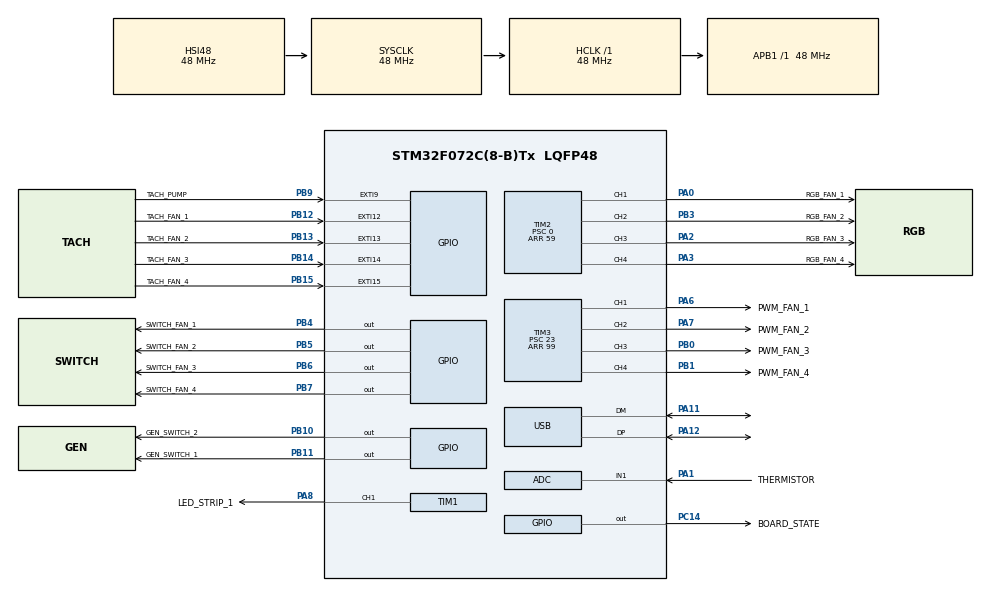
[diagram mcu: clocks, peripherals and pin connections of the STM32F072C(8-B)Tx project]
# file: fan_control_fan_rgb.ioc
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ADC.SamplingTime=ADC_SAMPLETIME_55CYCLES_5
Dma.Request0=TIM2_CH1
Dma.Request1=TIM2_CH2
Dma.Request2=TIM2_CH3
Dma.Request3=TIM2_CH4
Dma.Request4=TIM1_CH1
Dma.TIM1_CH1.4.Direction=DMA_MEMORY_TO_PERIPH
Dma.TIM1_CH1.4.Instance=DMA1_Channel2
Dma.TIM1_CH1.4.MemDataAlignment=DMA_MDATAALIGN_HALFWORD
Dma.TIM1_CH1.4.MemInc=DMA_MINC_ENABLE
Dma.TIM1_CH1.4.Mode=DMA_NORMAL
Dma.TIM1_CH1.4.PeriphDataAlignment=DMA_PDATAALIGN_HALFWORD
Dma.TIM1_CH1.4.PeriphInc=DMA_PINC_DISABLE
Dma.TIM1_CH1.4.Priority=DMA_PRIORITY_LOW
Dma.TIM2_CH1.0.Direction=DMA_MEMORY_TO_PERIPH
Dma.TIM2_CH1.0.Instance=DMA1_Channel5
Dma.TIM2_CH1.0.MemDataAlignment=DMA_MDATAALIGN_HALFWORD
Dma.TIM2_CH1.0.MemInc=DMA_MINC_ENABLE
Dma.TIM2_CH1.0.Mode=DMA_NORMAL
Dma.TIM2_CH1.0.PeriphDataAlignment=DMA_PDATAALIGN_HALFWORD
Dma.TIM2_CH1.0.PeriphInc=DMA_PINC_DISABLE
Dma.TIM2_CH1.0.Priority=DMA_PRIORITY_LOW
Dma.TIM2_CH2.1.Direction=DMA_MEMORY_TO_PERIPH
Dma.TIM2_CH2.1.Instance=DMA1_Channel3
Dma.TIM2_CH2.1.MemDataAlignment=DMA_MDATAALIGN_HALFWORD
Dma.TIM2_CH2.1.MemInc=DMA_MINC_ENABLE
Dma.TIM2_CH2.1.Mode=DMA_NORMAL
Dma.TIM2_CH2.1.PeriphDataAlignment=DMA_PDATAALIGN_HALFWORD
Dma.TIM2_CH2.1.PeriphInc=DMA_PINC_DISABLE
Dma.TIM2_CH2.1.Priority=DMA_PRIORITY_LOW
Dma.TIM2_CH3.2.Direction=DMA_MEMORY_TO_PERIPH
Dma.TIM2_CH3.2.Instance=DMA1_Channel1
Dma.TIM2_CH3.2.MemDataAlignment=DMA_MDATAALIGN_HALFWORD
Dma.TIM2_CH3.2.MemInc=DMA_MINC_ENABLE
Dma.TIM2_CH3.2.Mode=DMA_NORMAL
Dma.TIM2_CH3.2.PeriphDataAlignment=DMA_PDATAALIGN_HALFWORD
Dma.TIM2_CH3.2.PeriphInc=DMA_PINC_DISABLE
Dma.TIM2_CH3.2.Priority=DMA_PRIORITY_LOW
Dma.TIM2_CH4.3.Direction=DMA_MEMORY_TO_PERIPH
Dma.TIM2_CH4.3.Instance=DMA1_Channel4
Dma.TIM2_CH4.3.MemDataAlignment=DMA_MDATAALIGN_HALFWORD
Dma.TIM2_CH4.3.MemInc=DMA_MINC_ENABLE
Dma.TIM2_CH4.3.Mode=DMA_NORMAL
Dma.TIM2_CH4.3.PeriphDataAlignment=DMA_PDATAALIGN_HALFWORD
Dma.TIM2_CH4.3.PeriphInc=DMA_PINC_DISABLE
Dma.TIM2_CH4.3.Priority=DMA_PRIORITY_LOW
Mcu.Family=STM32F0
Mcu.Name=STM32F072C(8-B)Tx
Mcu.Package=LQFP48
NVIC.DMA1_Channel1_IRQn=true\:0\:0\:false\:false\:true\:false\:true\:true
NVIC.DMA1_Channel2_3_IRQn=true\:0\:0\:false\:false\:true\:false\:true\:true
NVIC.DMA1_Channel4_5_6_7_IRQn=true\:0\:0\:false\:false\:true\:false\:true\:true
NVIC.EXTI4_15_IRQn=true\:0\:0\:false\:false\:true\:true\:true\:true
NVIC.TIM14_IRQn=true\:0\:0\:false\:false\:true\:true\:true\:true
NVIC.TIM17_IRQn=true\:3\:0\:false\:false\:true\:false\:true\:true
NVIC.TIM2_IRQn=true\:0\:0\:false\:false\:true\:true\:true\:true
NVIC.TIM3_IRQn=true\:0\:0\:false\:false\:true\:true\:true\:true
NVIC.TimeBase=TIM17_IRQn
NVIC.TimeBaseIP=TIM17
NVIC.USB_IRQn=true\:0\:0\:false\:false\:true\:false\:true\:true
PA0.GPIO_Label=RGB_FAN_1
PA0.Signal=S_TIM2_CH1_ETR
PA1.GPIO_Label=THERMISTOR
PA1.Mode=IN1
PA1.Signal=ADC_IN1
PA11.Mode=Device
PA11.Signal=USB_DM
PA12.Mode=Device
PA12.Signal=USB_DP
PA13.Mode=Serial_Wire
PA13.Signal=SYS_SWDIO
PA14.Mode=Serial_Wire
PA14.Signal=SYS_SWCLK
PA2.GPIO_Label=RGB_FAN_3
PA2.Signal=S_TIM2_CH3
PA3.GPIO_Label=RGB_FAN_4
PA3.Signal=S_TIM2_CH4
PA6.GPIO_Label=PWM_FAN_1
PA6.Signal=S_TIM3_CH1
PA7.GPIO_Label=PWM_FAN_2
PA7.Signal=S_TIM3_CH2
PA8.GPIO_Label=LED_STRIP_1
PA8.Signal=S_TIM1_CH1
PB0.GPIO_Label=PWM_FAN_3
PB0.Signal=S_TIM3_CH3
PB1.GPIO_Label=PWM_FAN_4
PB1.Signal=S_TIM3_CH4
PB10.GPIO_Label=GEN_SWITCH_2
PB10.Signal=GPIO_Output
PB11.GPIO_Label=GEN_SWITCH_1
PB11.Signal=GPIO_Output
PB12.GPIO_Label=TACH_FAN_1
PB12.Signal=GPXTI12
PB13.GPIO_Label=TACH_FAN_2
PB13.Signal=GPXTI13
PB14.GPIO_Label=TACH_FAN_3
PB14.Signal=GPXTI14
PB15.GPIO_Label=TACH_FAN_4
PB15.Signal=GPXTI15
PB3.GPIO_Label=RGB_FAN_2
PB3.Signal=S_TIM2_CH2
PB4.GPIO_Label=SWITCH_FAN_1
PB4.PinState=GPIO_PIN_SET
PB4.Signal=GPIO_Output
PB5.GPIO_Label=SWITCH_FAN_2
PB5.PinState=GPIO_PIN_SET
PB5.Signal=GPIO_Output
PB6.GPIO_Label=SWITCH_FAN_3
PB6.PinState=GPIO_PIN_SET
PB6.Signal=GPIO_Output
PB7.GPIO_Label=SWITCH_FAN_4
PB7.PinState=GPIO_PIN_SET
PB7.Signal=GPIO_Output
PB9.GPIO_Label=TACH_PUMP
PB9.Signal=GPXTI9
PC14-OSC32_IN.GPIO_Label=BOARD_STATE
PC14-OSC32_IN.Signal=GPIO_Output
ProjectManager.HeapSize=0x200
ProjectManager.StackSize=0x400
ProjectManager.TargetToolchain=STM32CubeIDE
RCC.AHBFreq_Value=48000000
RCC.APB1Freq_Value=48000000
RCC.APB1TimFreq_Value=48000000
RCC.HCLKFreq_Value=48000000
RCC.PLLSourceVirtual=RCC_PLLSOURCE_HSI48
RCC.SYSCLKFreq_VALUE=48000000
RCC.SYSCLKSource=RCC_SYSCLKSOURCE_HSI48
SH.S_TIM1_CH1.0=TIM1_CH1,PWM Generation1 CH1
SH.S_TIM2_CH1_ETR.0=TIM2_CH1,PWM Generation1 CH1
SH.S_TIM2_CH2.0=TIM2_CH2,PWM Generation2 CH2
SH.S_TIM2_CH3.0=TIM2_CH3,PWM Generation3 CH3
SH.S_TIM2_CH4.0=TIM2_CH4,PWM Generation4 CH4
SH.S_TIM3_CH1.0=TIM3_CH1,PWM Generation1 CH1
SH.S_TIM3_CH2.0=TIM3_CH2,PWM Generation2 CH2
SH.S_TIM3_CH3.0=TIM3_CH3,PWM Generation3 CH3
SH.S_TIM3_CH4.0=TIM3_CH4,PWM Generation4 CH4
TIM1.AutoReloadPreload=TIM_AUTORELOAD_PRELOAD_ENABLE
TIM1.Channel-PWM\ Generation1\ CH1=TIM_CHANNEL_1
TIM1.Period=59
TIM1.Prescaler=0
TIM1.Pulse-PWM\ Generation1\ CH1=43
TIM14.AutoReloadPreload=TIM_AUTORELOAD_PRELOAD_ENABLE
TIM14.Period=47999
TIM14.Prescaler=99
TIM2.Channel-PWM\ Generation1\ CH1=TIM_CHANNEL_1
TIM2.Channel-PWM\ Generation2\ CH2=TIM_CHANNEL_2
TIM2.Channel-PWM\ Generation3\ CH3=TIM_CHANNEL_3
TIM2.Channel-PWM\ Generation4\ CH4=TIM_CHANNEL_4
TIM2.Period=59
TIM2.Prescaler=0
TIM2.Pulse-PWM\ Generation1\ CH1=50
TIM2.Pulse-PWM\ Generation2\ CH2=50
TIM2.Pulse-PWM\ Generation3\ CH3=50
TIM2.Pulse-PWM\ Generation4\ CH4=50
TIM3.Channel-PWM\ Generation1\ CH1=TIM_CHANNEL_1
TIM3.Channel-PWM\ Generation2\ CH2=TIM_CHANNEL_2
TIM3.Channel-PWM\ Generation3\ CH3=TIM_CHANNEL_3
TIM3.Channel-PWM\ Generation4\ CH4=TIM_CHANNEL_4
TIM3.Period=99
TIM3.Prescaler=23
TIM7.AutoReloadPreload=TIM_AUTORELOAD_PRELOAD_ENABLE
TIM7.Period=47999
TIM7.Prescaler=99
USB_DEVICE.APP_RX_DATA_SIZE=256
USB_DEVICE.APP_TX_DATA_SIZE=256
USB_DEVICE.CLASS_NAME_FS=CDC
USB_DEVICE.VirtualMode=Cdc
USB_DEVICE.VirtualModeFS=Cdc_FS
VP_SYS_VS_tim17.Mode=TIM17
VP_TIM14_VS_ClockSourceINT.Mode=Enable_Timer
VP_TIM1_VS_ClockSourceINT.Mode=Internal
VP_TIM2_VS_ClockSourceINT.Mode=Internal
VP_TIM3_VS_ClockSourceINT.Mode=Internal
VP_TIM7_VS_ClockSourceINT.Mode=Enable_Timer
VP_USB_DEVICE_VS_USB_DEVICE_CDC_FS.Mode=CDC_FS
VP_WWDG_VS_WWDG.Mode=WWDG_Activate
board=custom

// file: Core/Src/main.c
/* USER CODE BEGIN Header */
/**
  ******************************************************************************
  * @file           : main.c
  * @brief          : Main program body
  ******************************************************************************
  * @attention
  *
  * Copyright (c) 2023 STMicroelectronics.
  * All rights reserved.
  *
  * This software is licensed under terms that can be found in the LICENSE file
  * in the root directory of this software component.
  * If no LICENSE file comes with this software, it is provided AS-IS.
  *
  ******************************************************************************
  */
/* USER CODE END Header */
#include "main.h"
#include "adc.h"
#include "dma.h"
#include "tim.h"
#include "usb_device.h"
#include "wwdg.h"
#include "gpio.h"

/* USER CODE BEGIN Includes */
#include "math.h"
#include "usbd_cdc_if.h"
/* USER CODE END Includes */

/* USER CODE BEGIN PD */
uint8_t pulse_source = 0;
uint8_t pulse_timout = 0;
uint8_t transfer_complete = 0;
uint8_t rgb_channels[] = {TIM_CHANNEL_1, TIM_CHANNEL_2, TIM_CHANNEL_3, TIM_CHANNEL_4};

/* USER CODE END PD */

/* USER CODE BEGIN PV */
/**
 * @brief Callback of the ISR for the tachometers of the fans
 * @param GPIO_Pin
 */
void HAL_GPIO_EXTI_Callback(uint16_t GPIO_Pin)
{
    switch(GPIO_Pin){
    	case TACH_PUMP_Pin:
    		pulse_source = TACH_PUMP;
    	break;
    	case TACH_FAN_1_Pin:
    		pulse_source = TACH_FAN_1;
    	break;
    	case TACH_FAN_2_Pin:
    		pulse_source = TACH_FAN_2;
    	break;
    	case TACH_FAN_3_Pin:
    		pulse_source = TACH_FAN_3;
    	break;
    	case TACH_FAN_4_Pin:
    		pulse_source = TACH_FAN_4;
    	break;
    }
}
/**
 * @brief ISR callback for the timer monitoring the timeout of the tachometers
 * @param htim
 */
void HAL_TIM_PeriodElapsedCallbackck(TIM_HandleTypeDef *htim)
{
 if(htim->Instance == TIM14){
	 pulse_timout = 1;
 }
}
/* USER CODE END PV */

void SystemClock_Config(void);
/* USER CODE BEGIN PFP */
uint8_t buffer[USB_BUFFER_SIZE] = {0};
uint8_t buffer_ans[USB_BUFFER_SIZE] = {0};
/* USER CODE END PFP */

/* USER CODE BEGIN 0 */

uint32_t adc_read(){
    HAL_ADC_Start(&hadc);
    HAL_ADC_PollForConversion(&hadc, 1);
    return HAL_ADC_GetValue(&hadc);
}

uint32_t convert_raw_to_temp(uint32_t raw_adc){
    uint32_t temperature = 0;
	if(0>raw_adc || raw_adc>ADC_RES){
		temperature = IMPOSSIBLE_VALUE_TEMP;
	}
    else{
        float real_voltage = ((float)raw_adc/ADC_RES)*MAX_VOLT;
        float Rth = (-real_voltage*R1)/(real_voltage-V_SUPPLY);
        float a = log(Rth/(float)RES_AT_25C)/(float)BETA_TERMISTOR;
        float b = (float)1/298;
        float c = 1/(a+b);
        c = roundf(c * 100) / 100;
        temperature = (c-273)*100;
    }
    return temperature;
}

void read_fan_pulses(collected_pulses_t pulse_set){
    int count_pulses = 0;
    int already_pulsed[NUM_FANS] = {0};
    HAL_TIM_Base_Start_IT(&htim14);
    while (!pulse_timout && count_pulses != NUM_FANS*2){

        switch (pulse_source)
        {
            case PUMP:
                if(!already_pulsed[PUMP]){
                    pulse_set[PUMP].p1 = TIM7->CNT;
                    already_pulsed[PUMP] = 1;
                    count_pulses++;
                }
                else{
                    pulse_set[PUMP].p2 = TIM7->CNT;
                    count_pulses++;
                }
            break;

            case FAN_1:
                if(!already_pulsed[FAN_1]){
                    pulse_set[FAN_1].p1 = TIM7->CNT;
                    already_pulsed[FAN_1] = 1;
                    count_pulses++;
                }
                else{
                    pulse_set[FAN_1].p2 =TIM7->CNT;
                    count_pulses++;
                }
            break;

            case FAN_2:
                if(!already_pulsed[FAN_2]){
                    pulse_set[FAN_2].p1 = TIM7->CNT;
                    already_pulsed[FAN_2] = 1;
                    count_pulses++;
                }
                else{
                    pulse_set[FAN_2].p2 = TIM7->CNT;
                    count_pulses++;
                }
            break;

            case FAN_3:
                if(!already_pulsed[FAN_3]){
                    pulse_set[FAN_3].p1 = TIM7->CNT;
                    already_pulsed[FAN_3] = 1;
                    count_pulses++;
                }
                else{
                    pulse_set[FAN_3].p2 = TIM7->CNT;
                    count_pulses++;
                }
            break;

            case FAN_4:
                if(!already_pulsed[FAN_4]){
                    pulse_set[FAN_4].p1 = TIM7->CNT;
                    already_pulsed[FAN_4] = 1;
                    count_pulses++;
                }
                else{
                    pulse_set[FAN_4].p2 = TIM7->CNT;
                    count_pulses++;
                }
            break;

            default:
            break;
        }
    }
    HAL_TIM_Base_Stop_IT(&htim14);

}

void init_pulses(collected_pulses_t pulse_set){
    for(int i = 0; i<NUM_FANS; i++){
        pulse_set[i].p1 = IMPOSSIBLE_VALUE_COUNTER;
        pulse_set[i].p2 = IMPOSSIBLE_VALUE_COUNTER;
    }
}

void fan_speed_calculator(uint32_t speeds[], collected_pulses_t  pulses){
	int elapsed_ticks = 0U;
	float elapsed_time = 0.0;
	float fan_freq = 0.0;
	int RPM = IMPOSSIBLE_VALUE_RPM;
	for(int i = 0; i<NUM_FANS; i++){
		elapsed_ticks = pulses[i].p2 - pulses[i].p1;
		elapsed_time = (float)elapsed_ticks/CLOCK_SPEED;
		fan_freq = 1/elapsed_time;
        fan_freq = roundf(fan_freq * 100) / 100;
		RPM = ((fan_freq*60)/2);
        if(RPM < MIN_SPEED_FAN || RPM > MAX_SPEED_FAN){
            speeds[i] = IMPOSSIBLE_VALUE_RPM;
        }
        else{
		    speeds[i] = RPM;
        }
	}
}

uint8_t process_buffer_command(char buff[], data_in_t *data_ui){
    char *token = strtok(buff, SEPARATOR);
    uint32_t hold_num[TEST_SIZE]; memset(hold_num, IMPOSSIBLE_VALUE_COUNTER, TEST_SIZE*sizeof(uint32_t));
    int i = 0;
        while (token != NULL){
            hold_num[i] =  atoi(token);
            i++;
            token = strtok(NULL, SEPARATOR);
        }
        if(hold_num[9] != IMPOSSIBLE_VALUE_COUNTER){
            data_ui->pwm_f0 = hold_num[0];
            data_ui->pwm_f1 = hold_num[1];
            data_ui->pwm_f2 = hold_num[2];
            data_ui->pwm_f3 = hold_num[3];
            data_ui->sw_1 = hold_num[4];
            data_ui->sw_2 = hold_num[5];
            data_ui->freq_pwm = hold_num[6];
            return 1;
        }
        else{
            return 0;
        }
}

uint8_t process_setup_data(char buff[], led_setup_t *data_setup){
    char *token = strtok(buff, SEPARATOR);
    uint32_t hold_num[TEST_SIZE]; memset(hold_num, IMPOSSIBLE_VALUE_COUNTER, sizeof(uint32_t)*TEST_SIZE);
    int i = 0;
    while (token != NULL){
        hold_num[i] =  atoi(token);
        i++;
        token = strtok(NULL, SEPARATOR);

    }
    if(hold_num[1]!= IMPOSSIBLE_VALUE_COUNTER){
        data_setup->num_led_fan = hold_num[0];
        data_setup->num_led_strip = hold_num[1];
        return 1;
    }
    else{
        return 0;
    }
}

uint32_t fragment_led(char *led_s){
    char *state;
    char *token = strtok_r(led_s,SEPARATOR, &state);
    uint32_t hold[3];
    int i = 0;
    while(token != NULL){
        hold[i] = atoi(token);
        i++;
        token = strtok_r(NULL, SEPARATOR,  &state);
    }
    return (uint32_t)( (hold[0]  << 16) | (hold[1] << 8) | (hold[2]));

}

uint8_t process_led_effect_data(char buff[], uint32_t effect[]){
    char *state;
    char *token_led = strtok_r(buff, SEPARATOR_LED, &state);
    char hold[TEST_SIZE] = {0};
    int i = 0;

    while (token_led != NULL){
        strcpy(hold, token_led);
        effect[i] = fragment_led(hold);
        i++;
        memset(hold, 0, TEST_SIZE);
        token_led = strtok_r(NULL, SEPARATOR_LED, &state);
    }
    return 1;
}

void set_speeds_in_data(uint32_t speeds[], data_out_t *data_out){
	data_out->rpm_pump = speeds[0];
	data_out->rpm0 = speeds[1];
	data_out->rpm1 = speeds[2];
	data_out->rpm2 = speeds[3];
	data_out->rpm3 = speeds[4];
}

void create_data_pcb(char* msg, data_out_t data){
 char hold[TEST_SIZE] = {0};
 sprintf(hold,"%lu", data.rpm0);
 strcat(msg, hold); memset(hold, 0, TEST_SIZE); strcat(msg, ";");
 sprintf(hold,"%lu", data.rpm1);
 strcat(msg, hold); memset(hold, 0, TEST_SIZE); strcat(msg, ";");
 sprintf(hold,"%lu", data.rpm2);
 strcat(msg, hold); memset(hold, 0, TEST_SIZE); strcat(msg, ";");
 sprintf(hold,"%lu", data.rpm3);
 strcat(msg, hold); memset(hold, 0, TEST_SIZE); strcat(msg, ";");
 sprintf(hold,"%lu", data.rpm_pump);
 strcat(msg, hold); memset(hold, 0, TEST_SIZE); strcat(msg, ";");
 sprintf(hold,"%lu", data.temperature);
 strcat(msg, hold); memset(hold, 0, TEST_SIZE); strcat(msg, "#");
}

uint32_t create_data_ws(uint16_t *pwm_data, uint32_t effect[], led_setup_t leds){
	uint32_t index = 0;
	for(int j = 0; j<leds.num_led_fan; j++){
		for(int i = 23; i>=0; --i){
			if (effect[j]&(1<<i)){
				pwm_data[index] = LOGIC_ONE_LED;
			}
			else{
				pwm_data[index] = LOGIC_ZERO_LED;
			}
		}

	}
	for (int i=0; i<END_OF_EFFECT; i++){
		pwm_data[index] = 0;
		index++;
	}
	return index;
}

/* USER CODE END 0 */

int main(void)
{
  /* USER CODE BEGIN 1 */
	data_in_t data_in;
	data_out_t data_out;
	led_setup_t led_setup;
	collected_pulses_t pulses;
	uint32_t speeds[NUM_FANS]; memset(speeds, IMPOSSIBLE_VALUE_RPM, NUM_FANS*sizeof(uint32_t));
	uint32_t *led_fan = NULL;
	uint32_t *led_strip = NULL;
	uint16_t *pwm_data = NULL;
	uint8_t current_fan = 0;
	char msg[TEST_SIZE] = {0};
  /* USER CODE END 1 */

  /* MCU Configuration--------------------------------------------------------*/

  /* Reset of all peripherals, Initializes the Flash interface and the Systick. */
  HAL_Init();

  /* Configure the system clock */
  SystemClock_Config();

  /* Initialize all configured peripherals */
  MX_GPIO_Init();
  MX_DMA_Init();
  MX_ADC_Init();
  MX_TIM1_Init();
  MX_TIM2_Init();
  MX_TIM3_Init();
  MX_USB_DEVICE_Init();
  MX_TIM7_Init();
  MX_WWDG_Init();
  MX_TIM14_Init();
  /* USER CODE BEGIN 2 */
  HAL_ADCEx_Calibration_Start(&hadc);
  //START PWM
  HAL_TIM_PWM_Start(&htim3, TIM_CHANNEL_1);
  HAL_TIM_PWM_Start(&htim3, TIM_CHANNEL_2);
  HAL_TIM_PWM_Start(&htim3, TIM_CHANNEL_3);
  HAL_TIM_PWM_Start(&htim3, TIM_CHANNEL_4);
  //START TACHOMETER TIMER
  HAL_TIM_Base_Start(&htim7);

  /* USER CODE END 2 */

  /* Infinite loop */
  /* USER CODE BEGIN WHILE */
  while (1) {
    switch (buffer[0]) {
    case CONFIG_DATA:
      if (!process_buffer_command((char * ) buffer, & data_in)) {
        break;
      }

      __HAL_TIM_SET_COMPARE( & htim3, TIM_CHANNEL_1, data_in.pwm_f0);
      if (data_in.pwm_f0 == 0) {
        HAL_GPIO_WritePin(SWITCH_FAN_1_GPIO_Port, SWITCH_FAN_1_Pin, RESET);
      } else {
        HAL_GPIO_WritePin(SWITCH_FAN_1_GPIO_Port, SWITCH_FAN_1_Pin, SET);
      }

      __HAL_TIM_SET_COMPARE( & htim3, TIM_CHANNEL_2, data_in.pwm_f1);
      if (data_in.pwm_f1 == 0) {
        HAL_GPIO_WritePin(SWITCH_FAN_2_GPIO_Port, SWITCH_FAN_2_Pin, RESET);
      } else {
        HAL_GPIO_WritePin(SWITCH_FAN_2_GPIO_Port, SWITCH_FAN_2_Pin, SET);
      }

      __HAL_TIM_SET_COMPARE( & htim3, TIM_CHANNEL_3, data_in.pwm_f2);
      if (data_in.pwm_f2 == 0) {
        HAL_GPIO_WritePin(SWITCH_FAN_3_GPIO_Port, SWITCH_FAN_3_Pin, RESET);
      } else {
        HAL_GPIO_WritePin(SWITCH_FAN_3_GPIO_Port, SWITCH_FAN_3_Pin, SET);
      }

      __HAL_TIM_SET_COMPARE( & htim3, TIM_CHANNEL_4, data_in.pwm_f3);
      if (data_in.pwm_f3 == 0) {
        HAL_GPIO_WritePin(SWITCH_FAN_4_GPIO_Port, SWITCH_FAN_4_Pin, RESET);
      } else {
        HAL_GPIO_WritePin(SWITCH_FAN_4_GPIO_Port, SWITCH_FAN_4_Pin, SET);
      }

      if (data_in.sw_1) {
        HAL_GPIO_WritePin(GEN_SWITCH_1_GPIO_Port, GEN_SWITCH_1_Pin, SET);
      } else {
        HAL_GPIO_WritePin(GEN_SWITCH_1_GPIO_Port, GEN_SWITCH_1_Pin, RESET);
      }

      if (data_in.sw_2) {
        HAL_GPIO_WritePin(GEN_SWITCH_2_GPIO_Port, GEN_SWITCH_2_Pin, SET);
      } else {
        HAL_GPIO_WritePin(GEN_SWITCH_2_GPIO_Port, GEN_SWITCH_2_Pin, RESET);
      }

      break;
    case SETUP_DATA:
      if (!process_setup_data((char * ) buffer, & led_setup)) {
        break;
      }
      if (led_strip != NULL) {
        free(led_strip);
      }
      if (led_fan != NULL) {
        free(led_fan);
      }
      if (pwm_data != NULL) {
        free(pwm_data);
      }
      led_fan = (uint32_t * ) calloc(led_setup.num_led_fan, sizeof(uint32_t) * led_setup.num_led_fan);
      led_strip = (uint32_t * ) calloc(led_setup.num_led_strip, sizeof(uint32_t) * led_setup.num_led_strip);
      pwm_data = (uint16_t * ) calloc(23 * led_setup.num_led_strip + END_OF_EFFECT, sizeof(uint32_t) * led_setup.num_led_strip);
      break;

    case LED_DATA:
      process_led_effect_data((char * ) buffer, led_fan);
      uint32_t total_size = create_data_ws(pwm_data, led_fan, led_setup);

      HAL_TIM_PWM_Start_DMA( & htim2, rgb_channels[current_fan], (uint32_t * ) pwm_data, total_size);
      current_fan++;
      if (current_fan == 4) {
        current_fan = 0;
      }
      while (!transfer_complete);
      transfer_complete = 0;

      break;

    default:
      HAL_Delay(NO_NOW_COMMAND_TIMEOUT);
      break;
    }

    data_out.temperature = convert_raw_to_temp(adc_read(hadc));
    init_pulses(pulses);
    read_fan_pulses(pulses);
    fan_speed_calculator(speeds, pulses);
    set_speeds_in_data(speeds, & data_out);

    HAL_GPIO_TogglePin(BOARD_STATE_GPIO_Port, BOARD_STATE_Pin);
    create_data_pcb(msg, data_out);
    CDC_Transmit_FS((uint8_t * ) msg, strlen(msg));
    /* USER CODE END WHILE */

  }
}

void SystemClock_Config(void)
{
  RCC_OscInitTypeDef RCC_OscInitStruct = {0};
  RCC_ClkInitTypeDef RCC_ClkInitStruct = {0};
  RCC_PeriphCLKInitTypeDef PeriphClkInit = {0};

  /** Initializes the RCC Oscillators according to the specified parameters
  * in the RCC_OscInitTypeDef structure.
  */
  RCC_OscInitStruct.OscillatorType = RCC_OSCILLATORTYPE_HSI14|RCC_OSCILLATORTYPE_HSI48;
  RCC_OscInitStruct.HSI48State = RCC_HSI48_ON;
  RCC_OscInitStruct.HSI14State = RCC_HSI14_ON;
  RCC_OscInitStruct.HSI14CalibrationValue = 16;
  RCC_OscInitStruct.PLL.PLLState = RCC_PLL_NONE;
  if (HAL_RCC_OscConfig(&RCC_OscInitStruct) != HAL_OK)
  {
    Error_Handler();
  }

  /** Initializes the CPU, AHB and APB buses clocks
  */
  RCC_ClkInitStruct.ClockType = RCC_CLOCKTYPE_HCLK|RCC_CLOCKTYPE_SYSCLK
                              |RCC_CLOCKTYPE_PCLK1;
  RCC_ClkInitStruct.SYSCLKSource = RCC_SYSCLKSOURCE_HSI48;
  RCC_ClkInitStruct.AHBCLKDivider = RCC_SYSCLK_DIV1;
  RCC_ClkInitStruct.APB1CLKDivider = RCC_HCLK_DIV1;

  if (HAL_RCC_ClockConfig(&RCC_ClkInitStruct, FLASH_LATENCY_1) != HAL_OK)
  {
    Error_Handler();
  }
  PeriphClkInit.PeriphClockSelection = RCC_PERIPHCLK_USB;
  PeriphClkInit.UsbClockSelection = RCC_USBCLKSOURCE_HSI48;

  if (HAL_RCCEx_PeriphCLKConfig(&PeriphClkInit) != HAL_OK)
  {
    Error_Handler();
  }
}

void HAL_TIM_PeriodElapsedCallback(TIM_HandleTypeDef *htim)
{
  if (htim->Instance == TIM17) {
    HAL_IncTick();
  }
}

void Error_Handler(void)
{
  __disable_irq();
  while (1)
  {
  }
}
